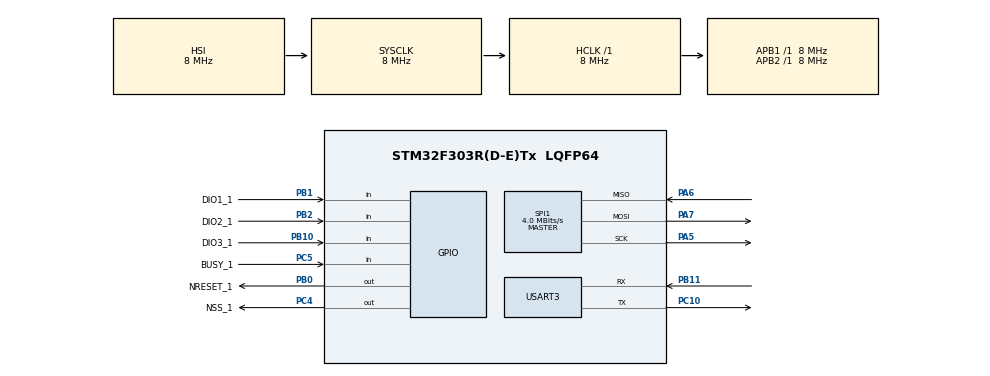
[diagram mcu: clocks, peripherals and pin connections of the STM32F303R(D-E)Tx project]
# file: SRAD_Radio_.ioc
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Mcu.Family=STM32F3
PA6.Mode=Full_Duplex_Master
RCC.CortexFreq_Value=8000000
PA7.Mode=Full_Duplex_Master
SPI1.VirtualType=VM_MASTER
PC10.Signal=USART3_TX
PC4.Signal=GPIO_Output
PC10.Mode=Asynchronous
PB0.GPIO_Label=NRESET_1
PB11.Signal=USART3_RX
ProjectManager.StackSize=0x400
USART3.VirtualMode-Asynchronous=VM_ASYNC
PB11.Mode=Asynchronous
ProjectManager.TargetToolchain=STM32CubeIDE
PB10.GPIO_Label=DIO3_1
SPI1.Direction=SPI_DIRECTION_2LINES
SPI1.CalculateBaudRate=4.0 MBits/s
RCC.USBFreq_Value=16000000
RCC.LSE_VALUE=32768
RCC.AHBFreq_Value=8000000
PB10.Signal=GPIO_Input
PA5.Signal=SPI1_SCK
RCC.HSE_VALUE=8000000
PB2.Signal=GPIO_Input
board=custom
RCC.APB2Freq_Value=8000000
PC4.GPIO_Label=NSS_1
SPI1.Mode=SPI_MODE_MASTER
PB1.GPIO_Label=DIO1_1
SPI1.DataSize=SPI_DATASIZE_8BIT
Mcu.Name=STM32F303R(D-E)Tx
RCC.SYSCLKFreq_VALUE=8000000
Mcu.Package=LQFP64
PA6.Signal=SPI1_MISO
PB1.Signal=GPIO_Input
PC5.GPIO_Label=BUSY_1
PB2.GPIO_Label=DIO2_1
ProjectManager.HeapSize=0x200
RCC.HSI_VALUE=8000000
NVIC.PriorityGroup=NVIC_PRIORITYGROUP_4
PC5.Signal=GPIO_Input
RCC.APB1Freq_Value=8000000
PB0.Signal=GPIO_Output
PA5.Mode=Full_Duplex_Master
PA7.Signal=SPI1_MOSI

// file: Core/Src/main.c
/* USER CODE BEGIN Header */
/**
  ******************************************************************************
  * @file           : main.c
  * @brief          : Main program body
  ******************************************************************************
  * @attention
  *
  * <h2><center>&copy; Copyright (c) 2021 STMicroelectronics.
  * All rights reserved.</center></h2>
  *
  * This software component is licensed by ST under BSD 3-Clause license,
  * the "License"; You may not use this file except in compliance with the
  * License. You may obtain a copy of the License at:
  *                        opensource.org/licenses/BSD-3-Clause
  *
  ******************************************************************************
  */
/* USER CODE END Header */
#include "main.h"

/* USER CODE BEGIN Includes */
#include "sx126x.h"
#include <stdio.h>
#include <stdlib.h>
/* USER CODE END Includes */

SPI_HandleTypeDef hspi1;

UART_HandleTypeDef huart3;

void SystemClock_Config(void);
static void MX_GPIO_Init(void);
static void MX_SPI1_Init(void);
static void MX_USART3_UART_Init(void);

/* USER CODE BEGIN 0 */

void transmitBuffer(char buffer[]){
	uint8_t length = 0;
	while(buffer[length] != 0){
		length++;
	}
	HAL_UART_Transmit(&huart3, (uint8_t*)buffer, length, 100);
}

void transmitStatus(HAL_StatusTypeDef status){
	if(status == HAL_OK){
		HAL_UART_Transmit(&huart3, (uint8_t*)"Status: HAL_OK\n", 15, 100);
	} else if(status == HAL_ERROR){
		HAL_UART_Transmit(&huart3, (uint8_t*)"Status: HAL_ERROR\n", 18, 100);
	} else if(status == HAL_BUSY){
		HAL_UART_Transmit(&huart3, (uint8_t*)"Status: HAL_BUSY\n", 17, 100);
	} else if(status == HAL_TIMEOUT){
		HAL_UART_Transmit(&huart3, (uint8_t*)"Status: HAL_TIMEOUT\n", 20, 100);
	} else {
		HAL_UART_Transmit(&huart3, (uint8_t*)"Status: Unknown status Received\n", 32, 100);
	}
}

void transmitIRQ(sx126x_irq_mask_t irq){
	if(irq == SX126X_IRQ_TX_DONE){
		transmitBuffer("Tx Done\n");
	} else {
		transmitBuffer("Big Sad\n");
	}
}

/* USER CODE END 0 */

int main(void)
{

  /* MCU Configuration--------------------------------------------------------*/

  /* Reset of all peripherals, Initializes the Flash interface and the Systick. */
  HAL_Init();

  /* Configure the system clock */
  SystemClock_Config();

  /* Initialize all configured peripherals */
  MX_GPIO_Init();
  MX_SPI1_Init();
  MX_USART3_UART_Init();
  /* USER CODE BEGIN 2 */

  set_hspi(hspi1);
  set_NSS_pin(NSS_1_GPIO_Port, NSS_1_Pin);
  set_BUSY_pin(BUSY_1_GPIO_Port, BUSY_1_Pin);
  set_NRESET_pin(NRESET_1_GPIO_Port, NRESET_1_Pin);
  set_DIO1_pin(DIO1_1_GPIO_Port, DIO1_1_Pin);
  set_DIO2_pin(DIO2_1_GPIO_Port, DIO2_1_Pin);
  set_DIO3_pin(DIO3_1_GPIO_Port, DIO3_1_Pin);
  Tx_setup();
  //Rx_setup();

  /* USER CODE END 2 */

  /* Infinite loop */
  /* USER CODE BEGIN WHILE */
  while (1)
  {
	  uint8_t buffer_sent[5] = {10,11,12,13,14};
	  //uint8_t buffer_received[100];
	  TxProtocol(buffer_sent, 5);
	  //RxProtocol(buffer_received);
	  //char buff[200];
	  //sprintf(buff, "Buffer Sent: [%u,%u,%u,%u,%u,%u,%u,%u,%u,%u]\n",buffer_sent[0],buffer_sent[1],buffer_sent[2],buffer_sent[3],buffer_sent[4],buffer_sent[5],buffer_sent[6],buffer_sent[7],buffer_sent[8],buffer_sent[9]);
	  //transmitBuffer(buff);
	  //sprintf(buff, "Buffer Received: [%u,%u,%u,%u]\n",buffer_received[0],buffer_received[1],buffer_received[2],buffer_received[3]);
	  //transmitBuffer(buff);

    /* USER CODE END WHILE */

  }
}

void SystemClock_Config(void)
{
  RCC_OscInitTypeDef RCC_OscInitStruct = {0};
  RCC_ClkInitTypeDef RCC_ClkInitStruct = {0};
  RCC_PeriphCLKInitTypeDef PeriphClkInit = {0};

  /** Initializes the RCC Oscillators according to the specified parameters
  * in the RCC_OscInitTypeDef structure.
  */
  RCC_OscInitStruct.OscillatorType = RCC_OSCILLATORTYPE_HSI;
  RCC_OscInitStruct.HSIState = RCC_HSI_ON;
  RCC_OscInitStruct.HSICalibrationValue = RCC_HSICALIBRATION_DEFAULT;
  RCC_OscInitStruct.PLL.PLLState = RCC_PLL_NONE;
  if (HAL_RCC_OscConfig(&RCC_OscInitStruct) != HAL_OK)
  {
    Error_Handler();
  }
  /** Initializes the CPU, AHB and APB buses clocks
  */
  RCC_ClkInitStruct.ClockType = RCC_CLOCKTYPE_HCLK|RCC_CLOCKTYPE_SYSCLK
                              |RCC_CLOCKTYPE_PCLK1|RCC_CLOCKTYPE_PCLK2;
  RCC_ClkInitStruct.SYSCLKSource = RCC_SYSCLKSOURCE_HSI;
  RCC_ClkInitStruct.AHBCLKDivider = RCC_SYSCLK_DIV1;
  RCC_ClkInitStruct.APB1CLKDivider = RCC_HCLK_DIV1;
  RCC_ClkInitStruct.APB2CLKDivider = RCC_HCLK_DIV1;

  if (HAL_RCC_ClockConfig(&RCC_ClkInitStruct, FLASH_LATENCY_0) != HAL_OK)
  {
    Error_Handler();
  }
  PeriphClkInit.PeriphClockSelection = RCC_PERIPHCLK_USART3;
  PeriphClkInit.Usart3ClockSelection = RCC_USART3CLKSOURCE_PCLK1;
  if (HAL_RCCEx_PeriphCLKConfig(&PeriphClkInit) != HAL_OK)
  {
    Error_Handler();
  }
}

static void MX_SPI1_Init(void)
{

  /* SPI1 parameter configuration*/
  hspi1.Instance = SPI1;
  hspi1.Init.Mode = SPI_MODE_MASTER;
  hspi1.Init.Direction = SPI_DIRECTION_2LINES;
  hspi1.Init.DataSize = SPI_DATASIZE_8BIT;
  hspi1.Init.CLKPolarity = SPI_POLARITY_LOW;
  hspi1.Init.CLKPhase = SPI_PHASE_1EDGE;
  hspi1.Init.NSS = SPI_NSS_SOFT;
  hspi1.Init.BaudRatePrescaler = SPI_BAUDRATEPRESCALER_2;
  hspi1.Init.FirstBit = SPI_FIRSTBIT_MSB;
  hspi1.Init.TIMode = SPI_TIMODE_DISABLE;
  hspi1.Init.CRCCalculation = SPI_CRCCALCULATION_DISABLE;
  hspi1.Init.CRCPolynomial = 7;
  hspi1.Init.CRCLength = SPI_CRC_LENGTH_DATASIZE;
  hspi1.Init.NSSPMode = SPI_NSS_PULSE_ENABLE;
  if (HAL_SPI_Init(&hspi1) != HAL_OK)
  {
    Error_Handler();
  }

}

static void MX_USART3_UART_Init(void)
{

  huart3.Instance = USART3;
  huart3.Init.BaudRate = 38400;
  huart3.Init.WordLength = UART_WORDLENGTH_8B;
  huart3.Init.StopBits = UART_STOPBITS_1;
  huart3.Init.Parity = UART_PARITY_NONE;
  huart3.Init.Mode = UART_MODE_TX_RX;
  huart3.Init.HwFlowCtl = UART_HWCONTROL_NONE;
  huart3.Init.OverSampling = UART_OVERSAMPLING_16;
  huart3.Init.OneBitSampling = UART_ONE_BIT_SAMPLE_DISABLE;
  huart3.AdvancedInit.AdvFeatureInit = UART_ADVFEATURE_NO_INIT;
  if (HAL_UART_Init(&huart3) != HAL_OK)
  {
    Error_Handler();
  }

}

static void MX_GPIO_Init(void)
{
  GPIO_InitTypeDef GPIO_InitStruct = {0};

  /* GPIO Ports Clock Enable */
  __HAL_RCC_GPIOA_CLK_ENABLE();
  __HAL_RCC_GPIOC_CLK_ENABLE();
  __HAL_RCC_GPIOB_CLK_ENABLE();

  /*Configure GPIO pin Output Level */
  HAL_GPIO_WritePin(NSS_1_GPIO_Port, NSS_1_Pin, GPIO_PIN_RESET);

  /*Configure GPIO pin Output Level */
  HAL_GPIO_WritePin(NRESET_1_GPIO_Port, NRESET_1_Pin, GPIO_PIN_RESET);

  /*Configure GPIO pin : NSS_1_Pin */
  GPIO_InitStruct.Pin = NSS_1_Pin;
  GPIO_InitStruct.Mode = GPIO_MODE_OUTPUT_PP;
  GPIO_InitStruct.Pull = GPIO_NOPULL;
  GPIO_InitStruct.Speed = GPIO_SPEED_FREQ_LOW;
  HAL_GPIO_Init(NSS_1_GPIO_Port, &GPIO_InitStruct);

  /*Configure GPIO pin : BUSY_1_Pin */
  GPIO_InitStruct.Pin = BUSY_1_Pin;
  GPIO_InitStruct.Mode = GPIO_MODE_INPUT;
  GPIO_InitStruct.Pull = GPIO_NOPULL;
  HAL_GPIO_Init(BUSY_1_GPIO_Port, &GPIO_InitStruct);

  /*Configure GPIO pin : NRESET_1_Pin */
  GPIO_InitStruct.Pin = NRESET_1_Pin;
  GPIO_InitStruct.Mode = GPIO_MODE_OUTPUT_PP;
  GPIO_InitStruct.Pull = GPIO_NOPULL;
  GPIO_InitStruct.Speed = GPIO_SPEED_FREQ_LOW;
  HAL_GPIO_Init(NRESET_1_GPIO_Port, &GPIO_InitStruct);

  /*Configure GPIO pins : DIO1_1_Pin DIO2_1_Pin DIO3_1_Pin */
  GPIO_InitStruct.Pin = DIO1_1_Pin|DIO2_1_Pin|DIO3_1_Pin;
  GPIO_InitStruct.Mode = GPIO_MODE_INPUT;
  GPIO_InitStruct.Pull = GPIO_NOPULL;
  HAL_GPIO_Init(GPIOB, &GPIO_InitStruct);

}

void Error_Handler(void)
{
  __disable_irq();
  while (1)
  {
  }
}

/************************ (C) COPYRIGHT STMicroelectronics *****END OF FILE****/
